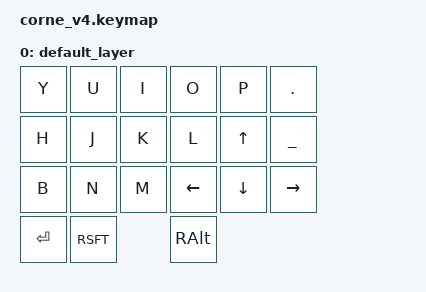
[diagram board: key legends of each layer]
#include <behaviors.dtsi>
#include <dt-bindings/zmk/keys.h>

/ {
  keymap {
    compatible = "zmk,keymap";

    default_layer {
      bindings = <
        &kp Y &kp U &kp I &kp O &kp P &kp PERIOD
        &kp H &kp J &kp K &kp L &kp UP &kp UNDERSCORE
        &kp B &kp N &kp M &kp LEFT &kp DOWN &kp RIGHT
        &kp RET &kp RSFT &kp RALT 
      >;
    };
  };
};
